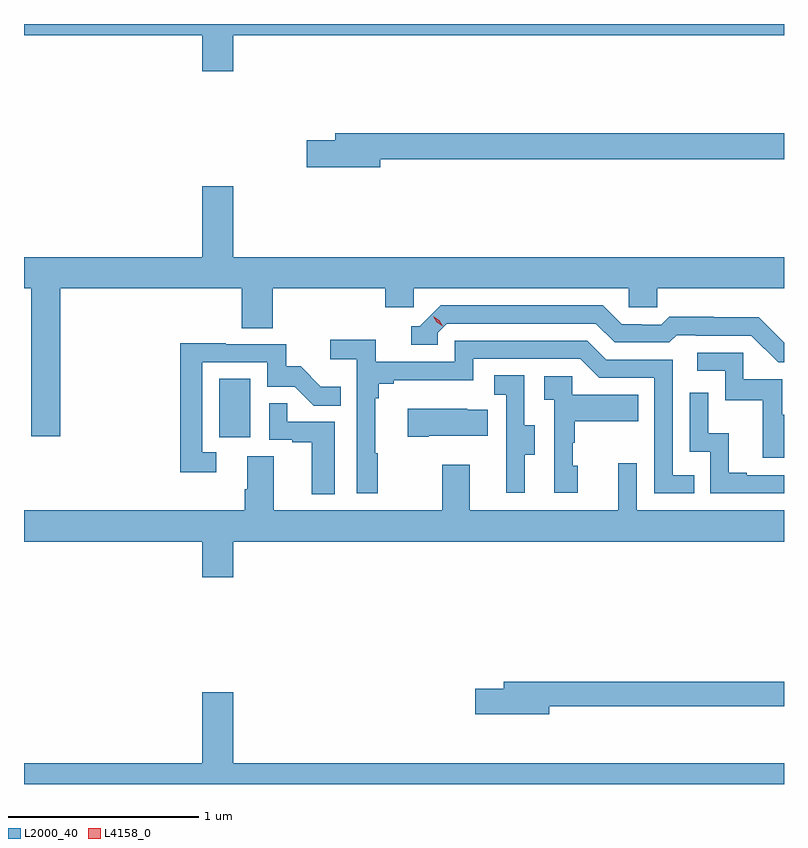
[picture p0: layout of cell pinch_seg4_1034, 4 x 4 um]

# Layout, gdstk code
import gdstk
lib = gdstk.Library(unit=1e-6, precision=1e-09)
def R(c, l, rs):  # rectangles x0, y0, x1, y1
    for r in rs: c.add(gdstk.rectangle(r[:2], r[2:], *l))
def P(c, l, *ps):  # polygons
    for p in ps: c.add(gdstk.Polygon(p, *l))
L2000_40 = (2000, 40)
L4158_0 = (4158, 0)

pinch_seg4_1034 = lib.new_cell('pinch_seg4_1034')
R(pinch_seg4_1034, L2000_40, [(812.45,750.75,812.614,751.057)])
P(pinch_seg4_1034, L2000_40, [(812.524,752.864),(815.422,752.864),(815.422,752.924),(811.422,752.924),(811.422,752.864),(812.36,752.864),(812.36,752.676),(812.524,752.676)],
  [(813.298,752.212),(815.422,752.212),(815.422,752.348),(813.059,752.348),(813.059,752.312),(812.91,752.312),(812.91,752.17),(813.298,752.17)],
  [(812.524,752.071),(812.36,752.071),(812.36,751.696),(811.422,751.696),(811.422,751.532),(811.46,751.532),(811.46,750.753),(811.613,750.753),(811.613,751.532),(812.567,751.532),(812.567,751.324),(812.732,751.324),(812.732,751.532),(813.323,751.532),(813.323,751.434),(813.474,751.434),(813.474,751.532),(814.605,751.532),(814.605,751.434),(814.755,751.434),(814.755,751.532),(815.422,751.532),(815.422,751.696),(812.524,751.696)],
  [(815.422,751.247),(815.288,751.381),(815.052,751.381),(815.052,751.384),(814.819,751.384),(814.777,751.341),(814.674,751.341),(814.674,751.344),(814.567,751.344),(814.468,751.443),(813.615,751.443),(813.504,751.332),(813.461,751.332),(813.461,751.236),(813.6,751.236),(813.6,751.299),(813.648,751.347),(814.431,751.347),(814.53,751.248),(814.819,751.248),(814.858,751.287),(814.957,751.287),(814.957,751.284),(815.25,751.284),(815.391,751.143),(815.422,751.143)],
  [(813.283,750.665),(813.271,750.665),(813.271,750.953),(813.29,750.953),(813.29,751.03),(813.367,751.03),(813.367,751.049),(813.786,751.049),(813.786,751.161),(814.35,751.161),(814.449,751.062),(814.74,751.062),(814.74,750.453),(814.949,750.453),(814.949,750.549),(814.836,750.549),(814.836,751.158),(814.486,751.158),(814.387,751.257),(813.69,751.257),(813.69,751.146),(813.272,751.146),(813.272,751.262),(813.033,751.262),(813.033,751.16),(813.174,751.16),(813.174,750.453),(813.283,750.453)],
  [(812.434,750.669),(812.361,750.669),(812.361,751.143),(812.703,751.143),(812.703,751.014),(812.848,751.014),(812.946,750.916),(813.089,750.916),(813.089,751.015),(812.985,751.015),(812.878,751.122),(812.802,751.122),(812.802,751.239),(812.483,751.239),(812.483,751.244),(812.245,751.244),(812.245,750.564),(812.434,750.564)],
  [(815.422,750.867),(815.413,750.867),(815.413,751.053),(815.208,751.053),(815.208,751.194),(814.965,751.194),(814.965,751.098),(815.112,751.098),(815.112,750.945),(815.311,750.945),(815.311,750.642),(815.422,750.642)],
  [(814.057,750.658),(814.111,750.658),(814.111,750.813),(814.056,750.813),(814.056,751.076),(813.897,751.076),(813.897,750.973),(813.96,750.973),(813.96,750.669),(813.959,750.669),(813.959,750.456),(814.057,750.456)],
  [(814.336,750.6),(814.311,750.6),(814.311,750.719),(814.321,750.719),(814.321,750.833),(814.655,750.833),(814.655,750.973),(814.308,750.973),(814.308,751.071),(814.161,751.071),(814.161,750.947),(814.212,750.947),(814.212,750.456),(814.336,750.456)],
  [(815.422,750.549),(815.227,750.549),(815.227,750.562),(815.132,750.562),(815.132,750.77),(815.022,750.77),(815.022,750.982),(814.926,750.982),(814.926,750.672),(815.034,750.672),(815.034,750.453),(815.422,750.453)],
  [(813.058,750.831),(812.807,750.831),(812.807,750.929),(812.712,750.929),(812.712,750.735),(812.833,750.735),(812.833,750.723),(812.936,750.723),(812.936,750.449),(813.058,750.449)],
  [(813.553,750.758),(813.863,750.758),(813.863,750.895),(813.755,750.895),(813.755,750.898),(813.441,750.898),(813.441,750.751),(813.553,750.751)],
  [(812.524,750.2),(815.422,750.2),(815.422,750.364),(814.647,750.364),(814.647,750.613),(814.55,750.613),(814.55,750.364),(813.769,750.364),(813.769,750.604),(813.622,750.604),(813.622,750.364),(812.737,750.364),(812.737,750.65),(812.597,750.65),(812.597,750.476),(812.585,750.476),(812.585,750.364),(811.422,750.364),(811.422,750.2),(812.36,750.2),(812.36,750.012),(812.524,750.012)],
  [(814.186,749.334),(815.422,749.334),(815.422,749.462),(813.947,749.462),(813.947,749.426),(813.798,749.426),(813.798,749.291),(814.186,749.291)],
  [(815.422,749.032),(812.524,749.032),(812.524,749.407),(812.36,749.407),(812.36,749.032),(811.422,749.032),(811.422,748.924),(815.422,748.924)])
P(pinch_seg4_1034, L4158_0, [(813.625,751.334),(813.594,751.353),(813.577,751.386),(813.577,751.386),(813.577,751.386),(813.608,751.366),(813.625,751.334),(813.625,751.334)])

lib.write_gds('pinch_seg4_1034.gds')
